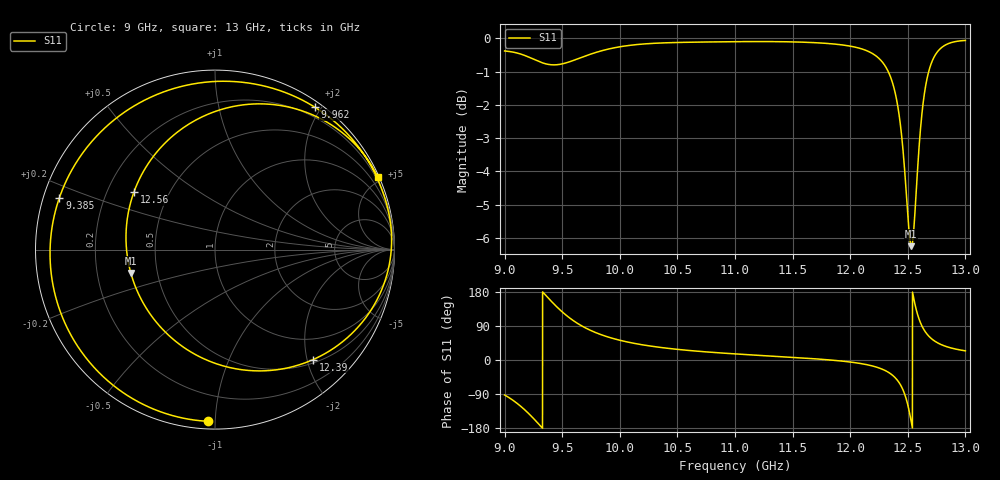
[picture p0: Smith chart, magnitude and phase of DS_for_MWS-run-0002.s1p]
! TOUCHSTONE file generated by CST DESIGN STUDIO
! Date and time: Tue Feb  4 14:28:59 2025
! Project name: C:\Work\MatlabApps\UnitCellOptimizationMatlab\CST\unitcell.cst
! Tree item: Tasks\Sweep1\SPara1\S-Parameters
! Header version: 2024
! Port assignment regex: !\s*Touchstone port\s*([0-9]+)\s*=\s*(CST MWS port|CST DES external port|CST DES block port)\s*(.+)\s* \(\"(.*)\"\)(\s*mode\s*([0-9]+))?.*
! Touchstone port assignment:
! Touchstone port 1 = CST DES external port 1 ("")
# GHz S MA R 50
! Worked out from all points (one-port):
!   4001 points, 9 GHz to 13 GHz, reference 50 ohm
!   lowest |S11| = -6.3 dB at 12.53 GHz (marker M1), VSWR 2.90, Z = 17.5 - j6.01 ohm
!   |S11| at or under -10 dB: nowhere
!   S11 on the Smith chart (normalised r, x): 9 GHz: 0.04, -0.96; 9.385 GHz: 0.05, +0.16; 9.962 GHz: 0.07, +1.92; 12.39 GHz: 0.56, -2.11; 12.56 GHz: 0.31, +0.29; 13 GHz: 0.08, +4.67
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9  0.9576 -92.3
9.096  0.952 -111.5
9.179  0.9422 -132.7
9.288  0.9247 -166.3
9.385  0.9138 161.5
9.5  0.9157 127.0
9.579  0.9243 107.7
9.67  0.9368 89.9
9.807  0.9545 70.3
9.962  0.969 55.1
10  0.9716 52.1
10.5  0.9862 28.1
11  0.989 16.1
11.5  0.9883 7.0
12  0.9738 -5.3
12.262  0.9287 -22.3
12.338  0.8856 -33.7
12.395  0.8215 -48.2
12.457  0.6836 -77.9
12.5  0.5425 -118.5
12.531  0.4868 -164.4
12.564  0.5537 144.7
12.595  0.6753 110.5
12.628  0.7857 86.6
12.677  0.8855 64.7
12.731  0.9397 50.4
12.837  0.9798 35.2
13  0.9932 24.2
